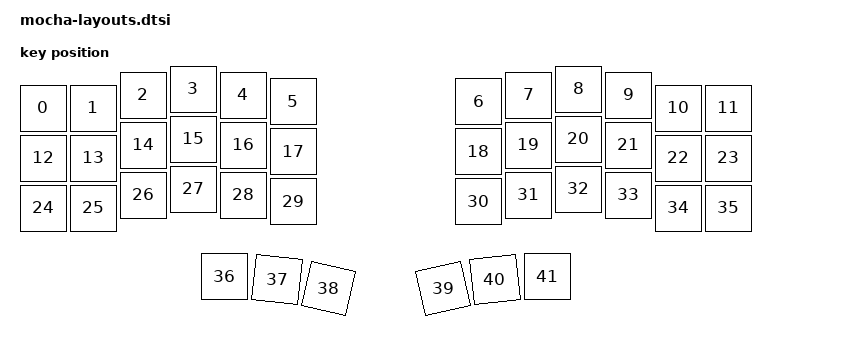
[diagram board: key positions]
#include <physical_layouts.dtsi>

/ {
    physical_layout0: physical_layout_0 {
        compatible = "zmk,physical-layout";
        display-name = "Default Layout";

        kscan = <&kscan0>;
        transform = <&default_transform>;

        keys  //                     w   h    x    y     rot    rx    ry
            = <&key_physical_attrs 100 100    0   38       0     0     0>
            , <&key_physical_attrs 100 100  100   38       0     0     0>
            , <&key_physical_attrs 100 100  200   12       0     0     0>
            , <&key_physical_attrs 100 100  300    0       0     0     0>
            , <&key_physical_attrs 100 100  400   12       0     0     0>
            , <&key_physical_attrs 100 100  500   25       0     0     0>
            , <&key_physical_attrs 100 100  871   25       0     0     0>
            , <&key_physical_attrs 100 100  971   12       0     0     0>
            , <&key_physical_attrs 100 100 1071    0       0     0     0>
            , <&key_physical_attrs 100 100 1171   12       0     0     0>
            , <&key_physical_attrs 100 100 1271   38       0     0     0>
            , <&key_physical_attrs 100 100 1371   38       0     0     0>
            , <&key_physical_attrs 100 100    0  138       0     0     0>
            , <&key_physical_attrs 100 100  100  138       0     0     0>
            , <&key_physical_attrs 100 100  200  112       0     0     0>
            , <&key_physical_attrs 100 100  300  100       0     0     0>
            , <&key_physical_attrs 100 100  400  112       0     0     0>
            , <&key_physical_attrs 100 100  500  125       0     0     0>
            , <&key_physical_attrs 100 100  871  125       0     0     0>
            , <&key_physical_attrs 100 100  971  112       0     0     0>
            , <&key_physical_attrs 100 100 1071  100       0     0     0>
            , <&key_physical_attrs 100 100 1171  112       0     0     0>
            , <&key_physical_attrs 100 100 1271  138       0     0     0>
            , <&key_physical_attrs 100 100 1371  138       0     0     0>
            , <&key_physical_attrs 100 100    0  238       0     0     0>
            , <&key_physical_attrs 100 100  100  238       0     0     0>
            , <&key_physical_attrs 100 100  200  212       0     0     0>
            , <&key_physical_attrs 100 100  300  200       0     0     0>
            , <&key_physical_attrs 100 100  400  212       0     0     0>
            , <&key_physical_attrs 100 100  500  225       0     0     0>
            , <&key_physical_attrs 100 100  871  225       0     0     0>
            , <&key_physical_attrs 100 100  971  212       0     0     0>
            , <&key_physical_attrs 100 100 1071  200       0     0     0>
            , <&key_physical_attrs 100 100 1171  212       0     0     0>
            , <&key_physical_attrs 100 100 1271  238       0     0     0>
            , <&key_physical_attrs 100 100 1371  238       0     0     0>
            , <&key_physical_attrs 100 100  363  375       0     0     0>
            , <&key_physical_attrs 100 100  468  381     625   518   431>
            , <&key_physical_attrs 100 100  571  399    1250   621   449>
            , <&key_physical_attrs 100 100  800  399 (-1250)   850   449>
            , <&key_physical_attrs 100 100  904  381  (-625)   954   431>
            , <&key_physical_attrs 100 100 1008  375       0     0     0>
            ;
    };
};
